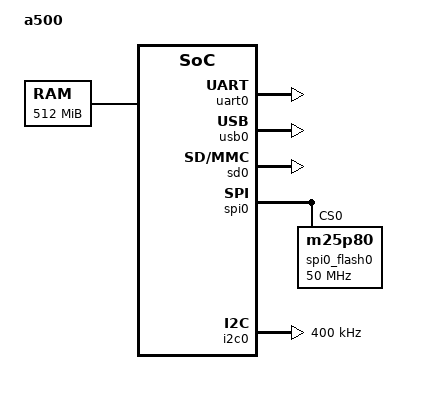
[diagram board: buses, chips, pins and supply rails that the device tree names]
/*
 * Copyright (C) 2014 Faraday, Inc. (www.faraday-tech.com)
 *
 * This program is free software; you can redistribute it and/or modify
 * it under the terms of the GNU General Public License version 2 as
 * published by the Free Software Foundation.
 */
 /dts-v1/;
#include <dt-bindings/interrupt-controller/arm-gic.h>
/  {
	model = "a500";
	compatible = "arm,faraday-soc";
    u-boot,dm-pre-reloc;
	interrupt-parent = <&gic>;
	#address-cells = <1>;
	#size-cells = <1>;
	
	aliases {
		serial0 = &uart0;
		spi0 = &spi0;
		i2c0 = &i2c0;
	};
	
	cpus {
		#address-cells = <1>;
		#size-cells = <0>;

		cpu@0 {
			device_type = "cpu";
			compatible = "arm,cortex-a53", "arm,armv8";
			reg = <0>;
		};
	};

	memory@80000000 {
		device_type = "memory";
		reg = <0x80000000 0x20000000>;
	};
		
	gic: interrupt-controller@18700000 {
		compatible = "arm,gic-400", "arm,cortex-a15-gic";
		interrupt-controller;
		#interrupt-cells = <3>;
		#address-cells = <1>;
		reg = <0x18701000 0x1000>,
			  <0x18700100 0x100>;
		interrupts = <GIC_PPI 9 0xf04>;
	};
	
	chosen {
		bootargs = "mem=2M console=ttyS0,115200";
		stdout-path = &uart0;
		tick-timer = &timer0;		
	};
		
	uart0: uart@08200000 {
		compatible = "of_serial,ns16550_serial", "ns16550";
		clock-frequency = <18432000>;
		reg = <0x08200000 0x1000>;
		reg-offset = <0>;
		reg-shift = <2>;
		reg-io-width = <4>;
		no-loopback-test;
		interrupts = <GIC_SPI 8 IRQ_TYPE_LEVEL_HIGH>;
	};
	
	timer0: timer@13100000 {
		compatible = "faraday,fttmr010-timer";
		reg = <0x13100000 0x1000>;
		interrupts = <GIC_SPI 26 IRQ_TYPE_LEVEL_HIGH>;
	};	
/*	
	usb0: usb@c0800000 {
		compatible = "faraday-ehci";
		reg = <0xc0800000 0x1000>;
		interrupts = <GIC_SPI 29 IRQ_TYPE_LEVEL_HIGH>;
	};
	
	usb1: usb@c0900000 {
		compatible = "faraday-ehci";
		reg = <0xc0900000 0x1000>;
		interrupts = <GIC_SPI 30 IRQ_TYPE_LEVEL_HIGH>;
	};
*/
	usb0: usb@a000000 {
		compatible = "xhci-plat";
		reg = <0xa000000 0x1000>;
		interrupts = <GIC_SPI 25 IRQ_TYPE_LEVEL_HIGH>;
	};
	
	sd0: sd@09200000 {
		compatible = "faraday,ftsdc021-sdhci";
		reg = <0x09200000 0x1000>;
		interrupts = <GIC_SPI 24 IRQ_TYPE_LEVEL_HIGH>;
	};	
/*
	nand0: nand@c0600000 {
		compatible = "ftnandc024";
		reg = <0xc0600000 0x1000>;
		data_reg = <0xc0500000 0x1000>;
		sel_ce = <0>;
		rac = <3>;
		cac = <2>;
		bi_reserve = <1>;				
		interrupts = <GIC_SPI 26 IRQ_TYPE_LEVEL_HIGH>;
	};
*/
    spi0: spi@0x09100000 {
		compatible = "faraday,ftspi020_spi";
		reg = <0x09100000 0x200>;
		num-cs = <4>;
		cs = <0>;
		max_hz = <20000000>;
		interrupts = <GIC_SPI 20 IRQ_TYPE_EDGE_RISING>;
		#address-cells = <1>;
		#size-cells = <0>;
		spi0_flash0: spi0_flash0@0 {
			compatible = "m25p80";
			#address-cells = <1>;
			#size-cells = <1>;
			spi-max-frequency = <50000000>;
			reg = <0>;

			spi0_flash0@00000000 {
			label = "spi0_flash0";
            reg = <0x0 0x100000>;
            };
	    };
     };

	i2c0: i2c@0x08000000 {
		status = "okay";
		clock-frequency = <400000>;
		 compatible = "faraday,fti2c010-i2c";
		reg = <0x08000000 0x100>;
		interrupts = <0 30 0>;
		#address-cells = <1>;
		#size-cells = <0>;
	};
 };
